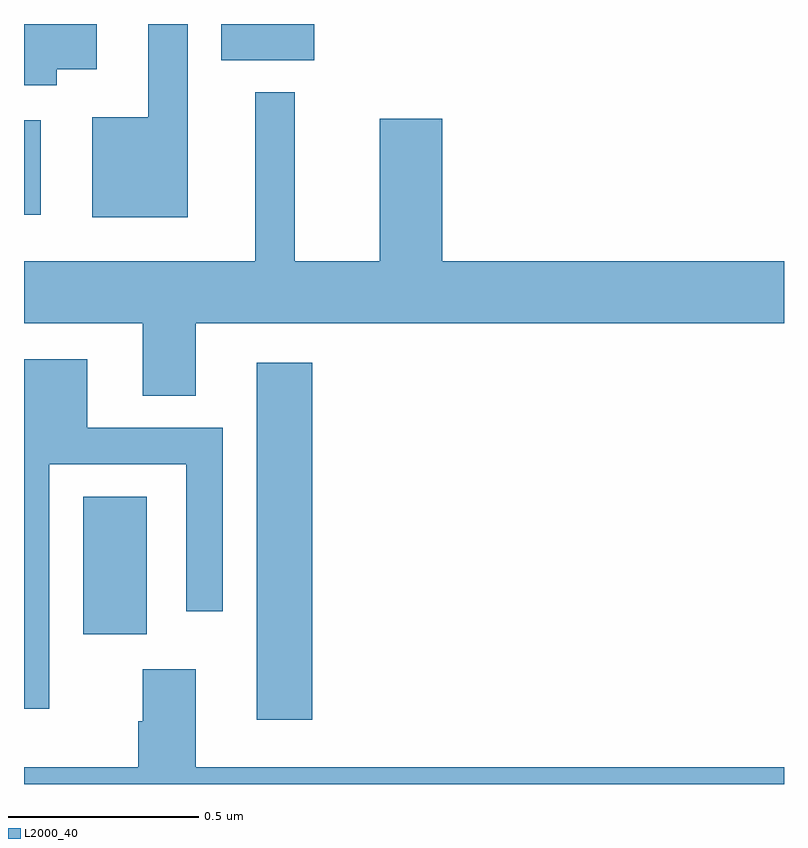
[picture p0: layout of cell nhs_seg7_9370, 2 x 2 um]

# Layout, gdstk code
import gdstk
lib = gdstk.Library(unit=1e-6, precision=1e-09)
def R(c, l, rs):  # rectangles x0, y0, x1, y1
    for r in rs: c.add(gdstk.rectangle(r[:2], r[2:], *l))
def P(c, l, *ps):  # polygons
    for p in ps: c.add(gdstk.Polygon(p, *l))
L2000_40 = (2000, 40)

nhs_seg7_9370 = lib.new_cell('nhs_seg7_9370')
R(nhs_seg7_9370, L2000_40, [(236.612,1070.169,236.759,1071.109), (236.156,1070.394,236.323,1070.756), (236,1071.498,236.044,1071.747), (236.519,1071.905,236.764,1072)])
P(nhs_seg7_9370, L2000_40, [(236.086,1071.881),(236.191,1071.881),(236.191,1072),(236,1072),(236,1071.839),(236.086,1071.839)],
  [(236.431,1072),(236.327,1072),(236.327,1071.754),(236.18,1071.754),(236.18,1071.491),(236.431,1071.491)],
  [(236.452,1071.212),(238,1071.212),(238,1071.376),(237.1,1071.376),(237.1,1071.751),(236.936,1071.751),(236.936,1071.376),(236.713,1071.376),(236.713,1071.82),(236.609,1071.82),(236.609,1071.376),(236,1071.376),(236,1071.212),(236.312,1071.212),(236.312,1071.022),(236.452,1071.022)],
  [(236.067,1070.841),(236.427,1070.841),(236.427,1070.454),(236.523,1070.454),(236.523,1070.937),(236.167,1070.937),(236.167,1071.118),(236,1071.118),(236,1070.198),(236.067,1070.198)],
  [(238,1070.044),(236.452,1070.044),(236.452,1070.302),(236.312,1070.302),(236.312,1070.165),(236.3,1070.165),(236.3,1070.044),(236,1070.044),(236,1070),(238,1070)])

lib.write_gds('nhs_seg7_9370.gds')
